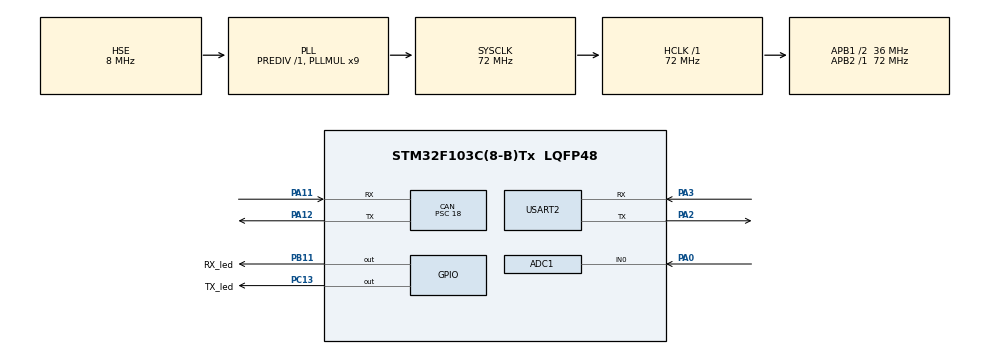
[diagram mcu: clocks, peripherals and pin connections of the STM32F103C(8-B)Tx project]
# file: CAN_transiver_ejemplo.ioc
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ADC1.Channel-0\#ChannelRegularConversion=ADC_CHANNEL_0
ADC1.ContinuousConvMode=DISABLE
ADC1.NbrOfConversionFlag=1
ADC1.Rank-0\#ChannelRegularConversion=1
ADC1.SamplingTime-0\#ChannelRegularConversion=ADC_SAMPLETIME_1CYCLE_5
ADC1.master=1
CAN.BS1=CAN_BS1_2TQ
CAN.CalculateBaudRate=500000
CAN.CalculateTimeBit=2000
CAN.CalculateTimeQuantum=500.0
CAN.NART=DISABLE
CAN.Prescaler=18
Mcu.Family=STM32F1
Mcu.Name=STM32F103C(8-B)Tx
Mcu.Package=LQFP48
NVIC.PriorityGroup=NVIC_PRIORITYGROUP_4
NVIC.USART2_IRQn=true\:0\:0\:false\:false\:true\:true\:true\:true
PA0-WKUP.Signal=ADCx_IN0
PA11.GPIO_PuPd=GPIO_PULLUP
PA11.Mode=CAN_Activate
PA11.Signal=CAN_RX
PA12.GPIO_Mode=GPIO_MODE_AF_PP
PA12.Mode=CAN_Activate
PA12.Signal=CAN_TX
PA13.Mode=Serial_Wire
PA13.Signal=SYS_JTMS-SWDIO
PA14.Mode=Serial_Wire
PA14.Signal=SYS_JTCK-SWCLK
PA2.Mode=Asynchronous
PA2.Signal=USART2_TX
PA3.Mode=Asynchronous
PA3.Signal=USART2_RX
PB11.GPIO_Label=RX_led
PB11.Signal=GPIO_Output
PC13-TAMPER-RTC.GPIO_Label=TX_led
PC13-TAMPER-RTC.GPIO_ModeDefaultOutputPP=GPIO_MODE_OUTPUT_OD
PC13-TAMPER-RTC.GPIO_PuPd=GPIO_NOPULL
PC13-TAMPER-RTC.GPIO_Speed=GPIO_SPEED_FREQ_HIGH
PC13-TAMPER-RTC.PinState=GPIO_PIN_SET
PC13-TAMPER-RTC.Signal=GPIO_Output
PC14-OSC32_IN.Mode=LSE-External-Oscillator
PC14-OSC32_IN.Signal=RCC_OSC32_IN
PC15-OSC32_OUT.Mode=LSE-External-Oscillator
PC15-OSC32_OUT.Signal=RCC_OSC32_OUT
PD0-OSC_IN.Mode=HSE-External-Oscillator
PD0-OSC_IN.Signal=RCC_OSC_IN
PD1-OSC_OUT.Mode=HSE-External-Oscillator
PD1-OSC_OUT.Signal=RCC_OSC_OUT
ProjectManager.HeapSize=0x200
ProjectManager.StackSize=0x400
ProjectManager.TargetToolchain=STM32CubeIDE
RCC.ADCPresc=RCC_ADCPCLK2_DIV6
RCC.AHBFreq_Value=72000000
RCC.APB1CLKDivider=RCC_HCLK_DIV2
RCC.APB1Freq_Value=36000000
RCC.APB1TimFreq_Value=72000000
RCC.APB2Freq_Value=72000000
RCC.APB2TimFreq_Value=72000000
RCC.HCLKFreq_Value=72000000
RCC.PLLMUL=RCC_PLL_MUL9
RCC.PLLSourceVirtual=RCC_PLLSOURCE_HSE
RCC.SYSCLKFreq_VALUE=72000000
RCC.SYSCLKSource=RCC_SYSCLKSOURCE_PLLCLK
RCC.USBFreq_Value=72000000
SH.ADCx_IN0.0=ADC1_IN0,IN0
USART2.VirtualMode=VM_ASYNC
board=custom

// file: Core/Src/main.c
/* USER CODE BEGIN Header */
/**
  ******************************************************************************
  * @file           : main.c
  * @brief          : Main program body
  ******************************************************************************
  * @attention
  *
  * Copyright (c) 2024 STMicroelectronics.
  * All rights reserved.
  *
  * This software is licensed under terms that can be found in the LICENSE file
  * in the root directory of this software component.
  * If no LICENSE file comes with this software, it is provided AS-IS.
  *
  ******************************************************************************
  */
/* USER CODE END Header */
#include "main.h"

/* USER CODE BEGIN Includes */
//NATIVAS DE C
#include "stdio.h"
#include "string.h"
#include "stdbool.h"
//PROPIAS

/* USER CODE END Includes */

/* USER CODE BEGIN PD */
#define ID_reciver 0x0A //ID del receptor
#define ID_transferee 0x0B //ID del transsmisor, este mcu
/* USER CODE END PD */

ADC_HandleTypeDef hadc1;

CAN_HandleTypeDef hcan;

UART_HandleTypeDef huart2;

/* USER CODE BEGIN PV */

//Objectos del CAN
CAN_TxHeaderTypeDef   TxHeader;
CAN_RxHeaderTypeDef   RxHeader;
CAN_FilterTypeDef canfilterconfig;
//buffers del CAN tx
uint8_t TxData[8] = {0};
uint8_t RxData[8] = {0};
uint32_t TxMailbox;

/* USER CODE END PV */

void SystemClock_Config(void);
static void MX_GPIO_Init(void);
static void MX_CAN_Init(void);
static void MX_USART2_UART_Init(void);
static void MX_ADC1_Init(void);

/* USER CODE BEGIN 0 */

//BANDERAS
bool datacheck = false;
/* USER CODE END 0 */

int main(void)
{

  /* USER CODE BEGIN 1 */
  uint16_t adc_lec;
  /* USER CODE END 1 */

  /* MCU Configuration--------------------------------------------------------*/

  /* Reset of all peripherals, Initializes the Flash interface and the Systick. */
  HAL_Init();

  /* Configure the system clock */
  SystemClock_Config();

  /* Initialize all configured peripherals */
  MX_GPIO_Init();
  MX_CAN_Init();
  MX_USART2_UART_Init();
  MX_ADC1_Init();
  /* USER CODE BEGIN 2 */

  HAL_CAN_Start(&hcan);
  TxHeader.IDE = CAN_ID_STD;
  TxHeader.StdId = ID_transferee;
  TxHeader.RTR = CAN_RTR_DATA; //eSTAMOS MANDAMOS DATAFRAMES
  TxHeader.DLC = 2; // Estamos mandando 2 bytes

  TxData[0] = 0; //low bits del adc
  TxData[1] = 0; //high bits del adc

  /* USER CODE END 2 */

  /* Infinite loop */
  while (1)
  {

    /* USER CODE BEGIN 3 */

	  //Inicia conversion
	  HAL_ADC_Start(&hadc1);
	  //Polleamos el resultado
	  HAL_ADC_PollForConversion(&hadc1, 1);
	  //recivimos la lectura
	  adc_lec = HAL_ADC_GetValue(&hadc1);
	  TxData[0] = adc_lec & 0x00FF;
	  TxData[1] = (adc_lec & 0xFF00)>>8;

	  /*
	   * MANDAMOS INFO AL BUS
	   */
	  if (HAL_CAN_AddTxMessage(&hcan, &TxHeader, TxData, &TxMailbox) != HAL_OK) {
		  Error_Handler();
	  }else { //No hubo problema en lanzar la informacion
		HAL_GPIO_TogglePin(TX_led_GPIO_Port, TX_led_Pin);
		HAL_Delay(100);
	  }

	/*
	 * REVIMOS INFO
	 */
  }
  /* USER CODE END 3 */
}

void SystemClock_Config(void)
{
  RCC_OscInitTypeDef RCC_OscInitStruct = {0};
  RCC_ClkInitTypeDef RCC_ClkInitStruct = {0};
  RCC_PeriphCLKInitTypeDef PeriphClkInit = {0};

  /** Initializes the RCC Oscillators according to the specified parameters
  * in the RCC_OscInitTypeDef structure.
  */
  RCC_OscInitStruct.OscillatorType = RCC_OSCILLATORTYPE_HSE;
  RCC_OscInitStruct.HSEState = RCC_HSE_ON;
  RCC_OscInitStruct.HSEPredivValue = RCC_HSE_PREDIV_DIV1;
  RCC_OscInitStruct.HSIState = RCC_HSI_ON;
  RCC_OscInitStruct.PLL.PLLState = RCC_PLL_ON;
  RCC_OscInitStruct.PLL.PLLSource = RCC_PLLSOURCE_HSE;
  RCC_OscInitStruct.PLL.PLLMUL = RCC_PLL_MUL9;
  if (HAL_RCC_OscConfig(&RCC_OscInitStruct) != HAL_OK)
  {
    Error_Handler();
  }

  /** Initializes the CPU, AHB and APB buses clocks
  */
  RCC_ClkInitStruct.ClockType = RCC_CLOCKTYPE_HCLK|RCC_CLOCKTYPE_SYSCLK
                              |RCC_CLOCKTYPE_PCLK1|RCC_CLOCKTYPE_PCLK2;
  RCC_ClkInitStruct.SYSCLKSource = RCC_SYSCLKSOURCE_PLLCLK;
  RCC_ClkInitStruct.AHBCLKDivider = RCC_SYSCLK_DIV1;
  RCC_ClkInitStruct.APB1CLKDivider = RCC_HCLK_DIV2;
  RCC_ClkInitStruct.APB2CLKDivider = RCC_HCLK_DIV1;

  if (HAL_RCC_ClockConfig(&RCC_ClkInitStruct, FLASH_LATENCY_2) != HAL_OK)
  {
    Error_Handler();
  }
  PeriphClkInit.PeriphClockSelection = RCC_PERIPHCLK_ADC;
  PeriphClkInit.AdcClockSelection = RCC_ADCPCLK2_DIV6;
  if (HAL_RCCEx_PeriphCLKConfig(&PeriphClkInit) != HAL_OK)
  {
    Error_Handler();
  }
}

static void MX_ADC1_Init(void)
{

  ADC_ChannelConfTypeDef sConfig = {0};

  /** Common config
  */
  hadc1.Instance = ADC1;
  hadc1.Init.ScanConvMode = ADC_SCAN_DISABLE;
  hadc1.Init.ContinuousConvMode = DISABLE;
  hadc1.Init.DiscontinuousConvMode = DISABLE;
  hadc1.Init.ExternalTrigConv = ADC_SOFTWARE_START;
  hadc1.Init.DataAlign = ADC_DATAALIGN_RIGHT;
  hadc1.Init.NbrOfConversion = 1;
  if (HAL_ADC_Init(&hadc1) != HAL_OK)
  {
    Error_Handler();
  }

  /** Configure Regular Channel
  */
  sConfig.Channel = ADC_CHANNEL_0;
  sConfig.Rank = ADC_REGULAR_RANK_1;
  sConfig.SamplingTime = ADC_SAMPLETIME_1CYCLE_5;
  if (HAL_ADC_ConfigChannel(&hadc1, &sConfig) != HAL_OK)
  {
    Error_Handler();
  }

}

static void MX_CAN_Init(void)
{

  hcan.Instance = CAN1;
  hcan.Init.Prescaler = 18;
  hcan.Init.Mode = CAN_MODE_NORMAL;
  hcan.Init.SyncJumpWidth = CAN_SJW_1TQ;
  hcan.Init.TimeSeg1 = CAN_BS1_2TQ;
  hcan.Init.TimeSeg2 = CAN_BS2_1TQ;
  hcan.Init.TimeTriggeredMode = DISABLE;
  hcan.Init.AutoBusOff = DISABLE;
  hcan.Init.AutoWakeUp = DISABLE;
  hcan.Init.AutoRetransmission = DISABLE;
  hcan.Init.ReceiveFifoLocked = DISABLE;
  hcan.Init.TransmitFifoPriority = DISABLE;
  if (HAL_CAN_Init(&hcan) != HAL_OK)
  {
    Error_Handler();
  }

}

static void MX_USART2_UART_Init(void)
{

  huart2.Instance = USART2;
  huart2.Init.BaudRate = 115200;
  huart2.Init.WordLength = UART_WORDLENGTH_8B;
  huart2.Init.StopBits = UART_STOPBITS_1;
  huart2.Init.Parity = UART_PARITY_NONE;
  huart2.Init.Mode = UART_MODE_TX_RX;
  huart2.Init.HwFlowCtl = UART_HWCONTROL_NONE;
  huart2.Init.OverSampling = UART_OVERSAMPLING_16;
  if (HAL_UART_Init(&huart2) != HAL_OK)
  {
    Error_Handler();
  }

}

static void MX_GPIO_Init(void)
{
  GPIO_InitTypeDef GPIO_InitStruct = {0};

  /* GPIO Ports Clock Enable */
  __HAL_RCC_GPIOC_CLK_ENABLE();
  __HAL_RCC_GPIOD_CLK_ENABLE();
  __HAL_RCC_GPIOA_CLK_ENABLE();
  __HAL_RCC_GPIOB_CLK_ENABLE();

  /*Configure GPIO pin Output Level */
  HAL_GPIO_WritePin(TX_led_GPIO_Port, TX_led_Pin, GPIO_PIN_SET);

  /*Configure GPIO pin Output Level */
  HAL_GPIO_WritePin(RX_led_GPIO_Port, RX_led_Pin, GPIO_PIN_RESET);

  /*Configure GPIO pin : TX_led_Pin */
  GPIO_InitStruct.Pin = TX_led_Pin;
  GPIO_InitStruct.Mode = GPIO_MODE_OUTPUT_OD;
  GPIO_InitStruct.Pull = GPIO_NOPULL;
  GPIO_InitStruct.Speed = GPIO_SPEED_FREQ_HIGH;
  HAL_GPIO_Init(TX_led_GPIO_Port, &GPIO_InitStruct);

  /*Configure GPIO pin : RX_led_Pin */
  GPIO_InitStruct.Pin = RX_led_Pin;
  GPIO_InitStruct.Mode = GPIO_MODE_OUTPUT_PP;
  GPIO_InitStruct.Pull = GPIO_NOPULL;
  GPIO_InitStruct.Speed = GPIO_SPEED_FREQ_LOW;
  HAL_GPIO_Init(RX_led_GPIO_Port, &GPIO_InitStruct);

}

/* USER CODE BEGIN 4 */
void HAL_CAN_RxFifo0MsgPendingCallback(CAN_HandleTypeDef *hcan)
{

	if (HAL_CAN_GetRxMessage(hcan, CAN_RX_FIFO0, &RxHeader, RxData) != HAL_OK)
    {
      Error_Handler();
    }

    for (int i = 0; i < 4; i++)
	{
		HAL_GPIO_TogglePin(RX_led_GPIO_Port, RX_led_Pin);
		HAL_Delay(50);
	}

    if(RxHeader.IDE == ID_reciver){
    	for (int i = 0; i < 10; i++)
    		{
    			HAL_GPIO_TogglePin(RX_led_GPIO_Port, RX_led_Pin);
    			HAL_Delay(50);
    		}
    }

  }
/* USER CODE END 4 */

void Error_Handler(void)
{
  __disable_irq();
  while (1)
  {
  }
}
